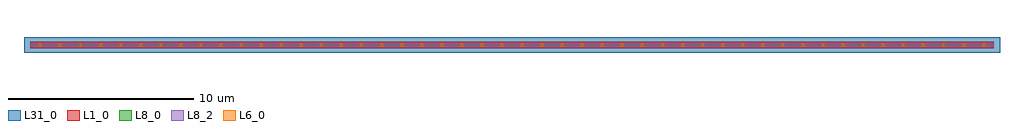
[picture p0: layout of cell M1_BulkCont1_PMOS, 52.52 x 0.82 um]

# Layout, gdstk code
import gdstk
lib = gdstk.Library(unit=1e-6, precision=1e-09)
def R(c, l, rs):  # rectangles x0, y0, x1, y1
    for r in rs: c.add(gdstk.rectangle(r[:2], r[2:], *l))
L1_0 = (1, 0)
L6_0 = (6, 0)
L8_0 = (8, 0)
L8_2 = (8, 2)
L31_0 = (31, 0)

m1_cont1_pmos = lib.new_cell('M1_Cont1_PMOS')
R(m1_cont1_pmos, L1_0, [(-0.535,-0.175,0.545,0.165)])
R(m1_cont1_pmos, L6_0, [(-0.075,-0.085,0.085,0.075)])
R(m1_cont1_pmos, L8_0, [(-0.535,-0.085,0.545,0.075)])
R(m1_cont1_pmos, L8_2, [(-0.535,-0.085,0.545,0.075)])
R(m1_cont1_pmos, L31_0, [(-0.875,-0.415,0.885,0.405)])

m1_bulkcont1_pmos = lib.new_cell('M1_BulkCont1_PMOS')
r = gdstk.Reference(m1_cont1_pmos, (-0.015,-0.015)); r.repetition = gdstk.Repetition(48, 1, v1=(1.08,0), v2=(0,0)); m1_bulkcont1_pmos.add(r)

lib.write_gds('M1_BulkCont1_PMOS.gds')
